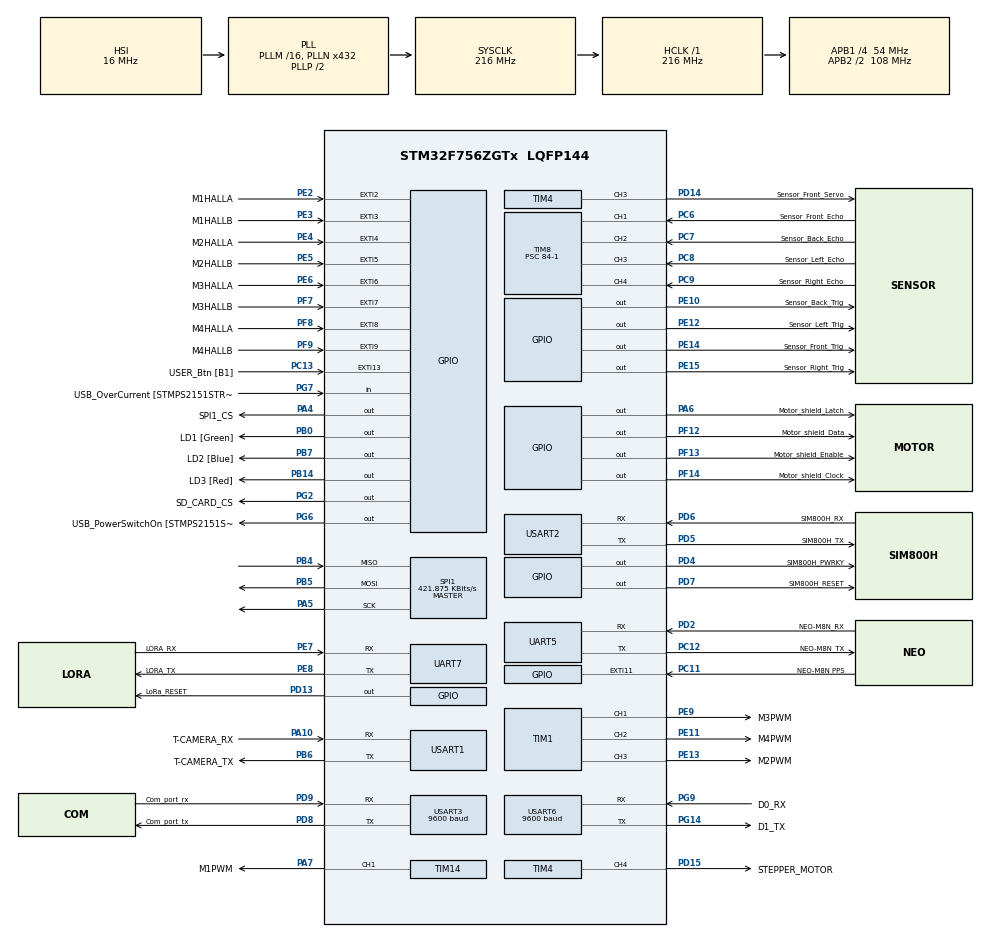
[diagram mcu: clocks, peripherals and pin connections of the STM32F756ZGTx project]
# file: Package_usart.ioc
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Mcu.Family=STM32F7
Mcu.Name=STM32F756ZGTx
Mcu.Package=LQFP144
NVIC.EXTI15_10_IRQn=true\:0\:0\:false\:false\:true\:true\:true\:true
NVIC.EXTI2_IRQn=true\:0\:0\:false\:false\:true\:true\:true\:true
NVIC.EXTI3_IRQn=true\:0\:0\:false\:false\:true\:true\:true\:true
NVIC.EXTI4_IRQn=true\:0\:0\:false\:false\:true\:true\:true\:true
NVIC.EXTI9_5_IRQn=true\:0\:0\:false\:false\:true\:true\:true\:true
NVIC.PriorityGroup=NVIC_PRIORITYGROUP_4
NVIC.RCC_IRQn=true\:0\:0\:false\:false\:true\:true\:false\:true
NVIC.SPI1_IRQn=true\:0\:0\:false\:false\:true\:true\:true\:true
NVIC.TIM2_IRQn=true\:0\:0\:false\:false\:true\:true\:true\:true
NVIC.TIM3_IRQn=true\:0\:0\:false\:false\:true\:true\:true\:true
NVIC.TIM4_IRQn=true\:0\:0\:false\:false\:true\:true\:true\:true
NVIC.TIM8_CC_IRQn=true\:0\:0\:false\:false\:true\:true\:true\:true
NVIC.UART5_IRQn=true\:0\:0\:false\:false\:true\:true\:true\:true
NVIC.UART7_IRQn=true\:0\:0\:false\:false\:true\:true\:true\:true
NVIC.USART1_IRQn=true\:0\:0\:false\:false\:true\:true\:true\:true
NVIC.USART2_IRQn=true\:0\:0\:false\:false\:true\:true\:true\:true
NVIC.USART3_IRQn=true\:0\:0\:false\:false\:true\:true\:true\:true
NVIC.USART6_IRQn=true\:0\:0\:false\:false\:true\:true\:true\:true
PA10.GPIO_Label=T-CAMERA_RX
PA10.Mode=Asynchronous
PA10.Signal=USART1_RX
PA11.GPIO_Label=USB_DM
PA11.Signal=USB_OTG_FS_DM
PA12.GPIO_Label=USB_DP
PA12.Signal=USB_OTG_FS_DP
PA13.GPIO_Label=TMS
PA13.Signal=SYS_JTMS-SWDIO
PA14.GPIO_Label=TCK
PA14.Signal=SYS_JTCK-SWCLK
PA4.GPIO_Label=SPI1_CS
PA4.GPIO_PuPd=GPIO_PULLUP
PA4.PinState=GPIO_PIN_SET
PA4.Signal=GPIO_Output
PA5.GPIO_PuPd=GPIO_PULLUP
PA5.Mode=Full_Duplex_Master
PA5.Signal=SPI1_SCK
PA6.GPIO_Label=Motor_shield_Latch
PA6.Signal=GPIO_Output
PA7.GPIO_Label=M1PWM
PA7.Signal=S_TIM14_CH1
PA8.GPIO_Label=USB_SOF [TP1]
PA8.Signal=USB_OTG_FS_SOF
PA9.GPIO_Label=USB_VBUS
PA9.Signal=USB_OTG_FS_VBUS
PB0.GPIO_Label=LD1 [Green]
PB0.Signal=GPIO_Output
PB13.GPIO_Label=RMII_TXD1 [LAN8742A-CZ-TR_TXD1]
PB13.Signal=ETH_TXD1
PB14.GPIO_Label=LD3 [Red]
PB14.Signal=GPIO_Output
PB3.Signal=SYS_JTDO-SWO
PB4.GPIO_PuPd=GPIO_PULLUP
PB4.Mode=Full_Duplex_Master
PB4.Signal=SPI1_MISO
PB5.GPIO_PuPd=GPIO_PULLUP
PB5.Mode=Full_Duplex_Master
PB5.Signal=SPI1_MOSI
PB6.GPIO_Label=T-CAMERA_TX
PB6.Mode=Asynchronous
PB6.Signal=USART1_TX
PB7.GPIO_Label=LD2 [Blue]
PB7.Signal=GPIO_Output
PB8.Signal=I2C1_SCL
PB9.Signal=I2C1_SDA
PC1.GPIO_Label=RMII_MDC [LAN8742A-CZ-TR_MDC]
PC1.Signal=ETH_MDC
PC11.GPIO_Label=NEO-M8N PPS
PC11.Signal=GPXTI11
PC12.GPIO_Label=NEO-M8N_TX
PC12.Mode=Asynchronous
PC12.Signal=UART5_TX
PC13.GPIO_Label=USER_Btn [B1]
PC13.Signal=GPXTI13
PC14/OSC32_IN.Signal=RCC_OSC32_IN
PC15/OSC32_OUT.Signal=RCC_OSC32_OUT
PC4.GPIO_Label=RMII_RXD0 [LAN8742A-CZ-TR_RXD0]
PC4.Signal=ETH_RXD0
PC5.GPIO_Label=RMII_RXD1 [LAN8742A-CZ-TR_RXD1]
PC5.Signal=ETH_RXD1
PC6.GPIO_Label=Sensor_Front_Echo
PC6.Signal=S_TIM8_CH1
PC7.GPIO_Label=Sensor_Back_Echo
PC7.Signal=S_TIM8_CH2
PC8.GPIO_Label=Sensor_Left_Echo
PC8.Signal=S_TIM8_CH3
PC9.GPIO_Label=Sensor_Right_Echo
PC9.Signal=S_TIM8_CH4
PD13.GPIO_Label=LoRa_RESET
PD13.Signal=GPIO_Output
PD14.GPIO_Label=Sensor_Front_Servo
PD14.GPIO_PuPd=GPIO_NOPULL
PD14.GPIO_Speed=GPIO_SPEED_FREQ_LOW
PD14.Signal=S_TIM4_CH3
PD15.GPIO_Label=STEPPER_MOTOR
PD15.GPIO_Speed=GPIO_SPEED_FREQ_LOW
PD15.Signal=S_TIM4_CH4
PD2.GPIO_Label=NEO-M8N_RX
PD2.Mode=Asynchronous
PD2.Signal=UART5_RX
PD4.GPIO_Label=SIM800H_PWRKY
PD4.Signal=GPIO_Output
PD5.GPIO_Label=SIM800H_TX
PD5.Mode=Asynchronous
PD5.Signal=USART2_TX
PD6.GPIO_Label=SIM800H_RX
PD6.Mode=Asynchronous
PD6.Signal=USART2_RX
PD7.GPIO_Label=SIM800H_RESET
PD7.Signal=GPIO_Output
PD8.GPIO_Label=Com_port_tx
PD8.Mode=Asynchronous
PD8.Signal=USART3_TX
PD9.GPIO_Label=Com_port_rx
PD9.Mode=Asynchronous
PD9.Signal=USART3_RX
PE10.GPIO_Label=Sensor_Back_Trig
PE10.PinState=GPIO_PIN_SET
PE10.Signal=GPIO_Output
PE11.GPIO_Label=M4PWM
PE11.Signal=S_TIM1_CH2
PE12.GPIO_Label=Sensor_Left_Trig
PE12.PinState=GPIO_PIN_SET
PE12.Signal=GPIO_Output
PE13.GPIO_Label=M2PWM
PE13.Signal=S_TIM1_CH3
PE14.GPIO_Label=Sensor_Front_Trig
PE14.PinState=GPIO_PIN_SET
PE14.Signal=GPIO_Output
PE15.GPIO_Label=Sensor_Right_Trig
PE15.PinState=GPIO_PIN_SET
PE15.Signal=GPIO_Output
PE2.GPIO_Label=M1HALLA
PE2.Signal=GPXTI2
PE3.GPIO_Label=M1HALLB
PE3.Signal=GPXTI3
PE4.GPIO_Label=M2HALLA
PE4.Signal=GPXTI4
PE5.GPIO_Label=M2HALLB
PE5.Signal=GPXTI5
PE6.GPIO_Label=M3HALLA
PE6.Signal=GPXTI6
PE7.GPIO_Label=LORA_RX
PE7.Mode=Asynchronous
PE7.Signal=UART7_RX
PE8.GPIO_Label=LORA_TX
PE8.Mode=Asynchronous
PE8.Signal=UART7_TX
PE9.GPIO_Label=M3PWM
PE9.Signal=S_TIM1_CH1
PF12.GPIO_Label=Motor_shield_Data
PF12.Signal=GPIO_Output
PF13.GPIO_Label=Motor_shield_Enable
PF13.Signal=GPIO_Output
PF14.GPIO_Label=Motor_shield_Clock
PF14.Signal=GPIO_Output
PF7.GPIO_Label=M3HALLB
PF7.Signal=GPXTI7
PF8.GPIO_Label=M4HALLA
PF8.Signal=GPXTI8
PF9.GPIO_Label=M4HALLB
PF9.Signal=GPXTI9
PG11.GPIO_Label=RMII_TX_EN [LAN8742A-CZ-TR_TXEN]
PG11.Signal=ETH_TX_EN
PG13.GPIO_Label=RMII_TXD0 [LAN8742A-CZ-TR_TXD0]
PG13.Signal=ETH_TXD0
PG14.GPIO_Label=D1_TX
PG14.Mode=Asynchronous
PG14.Signal=USART6_TX
PG2.GPIO_Label=SD_CARD_CS
PG2.Signal=GPIO_Output
PG6.GPIO_Label=USB_PowerSwitchOn [STMPS2151STR_EN]
PG6.Signal=GPIO_Output
PG7.GPIO_Label=USB_OverCurrent [STMPS2151STR_FAULT]
PG7.Signal=GPIO_Input
PG9.GPIO_Label=D0_RX
PG9.Mode=Asynchronous
PG9.Signal=USART6_RX
PH0/OSC_IN.GPIO_Label=MCO [STM32F103CBT6_PA8]
PH0/OSC_IN.Signal=RCC_OSC_IN
PH1/OSC_OUT.Signal=RCC_OSC_OUT
ProjectManager.HeapSize=0x200
ProjectManager.StackSize=0x400
ProjectManager.TargetToolchain=STM32CubeIDE
RCC.48MHZClocksFreq_Value=24000000
RCC.AHBFreq_Value=216000000
RCC.APB1CLKDivider=RCC_HCLK_DIV4
RCC.APB1Freq_Value=54000000
RCC.APB1TimFreq_Value=108000000
RCC.APB2CLKDivider=RCC_HCLK_DIV2
RCC.APB2Freq_Value=108000000
RCC.APB2TimFreq_Value=216000000
RCC.CortexFreq_Value=216000000
RCC.HCLKFreq_Value=216000000
RCC.HSE_VALUE=8000000
RCC.HSI_VALUE=16000000
RCC.LSE_VALUE=32768
RCC.PLLMUL=RCC_PLL_MUL9
RCC.PLLN=432
RCC.PLLQ=9
RCC.PRESCALERUSB=RCC_USBCLKSOURCE_PLL_DIV1_5
RCC.SYSCLKFreq_VALUE=216000000
RCC.SYSCLKSource=RCC_SYSCLKSOURCE_PLLCLK
RCC.SYSCLKSourceVirtual=RCC_SYSCLKSOURCE_PLLCLK
RCC.USBFreq_Value=48000000
RCC.VCOOutputFreq_Value=432000000
SH.S_TIM14_CH1.0=TIM14_CH1,PWM Generation1 CH1
SH.S_TIM1_CH1.0=TIM1_CH1,PWM Generation1 CH1
SH.S_TIM1_CH2.0=TIM1_CH2,PWM Generation2 CH2
SH.S_TIM1_CH3.0=TIM1_CH3,PWM Generation3 CH3
SH.S_TIM4_CH3.0=TIM4_CH3,PWM Generation3 CH3
SH.S_TIM4_CH4.0=TIM4_CH4,PWM Generation4 CH4
SH.S_TIM8_CH1.0=TIM8_CH1,Input_Capture1_from_TI1
SH.S_TIM8_CH2.0=TIM8_CH2,Input_Capture2_from_TI2
SH.S_TIM8_CH3.0=TIM8_CH3,Input_Capture3_from_TI3
SH.S_TIM8_CH4.0=TIM8_CH4,Input_Capture4_from_TI4
SPI1.BaudRatePrescaler=SPI_BAUDRATEPRESCALER_256
SPI1.CalculateBaudRate=421.875 KBits/s
SPI1.Direction=SPI_DIRECTION_2LINES
SPI1.Mode=SPI_MODE_MASTER
SPI1.VirtualType=VM_MASTER
TIM1.Channel-PWM\ Generation1\ CH1=TIM_CHANNEL_1
TIM1.Channel-PWM\ Generation2\ CH2=TIM_CHANNEL_2
TIM1.Channel-PWM\ Generation3\ CH3=TIM_CHANNEL_3
TIM14.Channel=TIM_CHANNEL_1
TIM2.Period=0xFFFF
TIM2.Prescaler=84
TIM3.ClockDivision=TIM_CLOCKDIVISION_DIV1
TIM3.Prescaler=83
TIM4.Channel-PWM\ Generation3\ CH3=TIM_CHANNEL_3
TIM4.Channel-PWM\ Generation4\ CH4=TIM_CHANNEL_4
TIM4.Period=20000-1
TIM4.Prescaler=100-1
TIM4.Pulse-PWM\ Generation3\ CH3=1500
TIM8.Channel-Input_Capture1_from_TI1=TIM_CHANNEL_1
TIM8.Channel-Input_Capture2_from_TI2=TIM_CHANNEL_2
TIM8.Channel-Input_Capture3_from_TI3=TIM_CHANNEL_3
TIM8.Channel-Input_Capture4_from_TI4=TIM_CHANNEL_4
TIM8.Prescaler=84-1
USART1.VirtualMode-Asynchronous=VM_ASYNC
USART2.VirtualMode-Asynchronous=VM_ASYNC
USART3.BaudRate=9600
USART3.VirtualMode-Asynchronous=VM_ASYNC
USART6.BaudRate=9600
USART6.VirtualMode-Asynchronous=VM_ASYNC
VP_FATFS_VS_Generic.Mode=User_defined
VP_RNG_VS_RNG.Mode=RNG_Activate
VP_TIM14_VS_ClockSourceINT.Mode=Enable_Timer
VP_TIM1_VS_ClockSourceITR.Mode=TriggerSource_ITR0
VP_TIM1_VS_ControllerModeClock.Mode=Clock Mode
VP_TIM2_VS_ClockSourceITR.Mode=TriggerSource_ITR0
VP_TIM2_VS_ControllerModeClock.Mode=Clock Mode
VP_TIM3_VS_ClockSourceITR.Mode=TriggerSource_ITR0
VP_TIM3_VS_ControllerModeClock.Mode=Clock Mode
VP_TIM4_VS_ClockSourceINT.Mode=Internal
board=NUCLEO-F756ZG

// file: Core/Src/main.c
/* USER CODE BEGIN Header */
/**
  ******************************************************************************
  * @file           : main.c
  * @brief          : Main program body
  ******************************************************************************
  * @attention
  *
  * Copyright (c) 2025 STMicroelectronics.
  * All rights reserved.
  *
  * This software is licensed under terms that can be found in the LICENSE file
  * in the root directory of this software component.
  * If no LICENSE file comes with this software, it is provided AS-IS.
  *
  ******************************************************************************
  */
/* USER CODE END Header */
#include "main.h"
#include "fatfs.h"
#include "rng.h"
#include "spi.h"
#include "tim.h"
#include "usart.h"
#include "gpio.h"

/* USER CODE BEGIN Includes */
#include "motor.h"
#include "hall.h"
#include "ultrasonic.h"
#include "servo.h"
#include "user_diskio_spi.h"
#include "sd_card.h"
#include "obstacle.h"
#include "uart_handler.h"
#include <string.h>
#include <stdio.h>
#include <stdarg.h> //for va_list var arg functions
/* USER CODE END Includes */

void SystemClock_Config(void);
/* USER CODE BEGIN PFP */
void Green_led_blink(void);
void Hall_GPIO_Init(void);
void LoRa_Reset(void);
void myprintf(const char *fmt, ...);

/* USER CODE END PFP */

/* USER CODE BEGIN 0 */
extern void myprintf(const char *fmt, ...) {
  static char buffer[256];
  va_list args;
  va_start(args, fmt);
  vsnprintf(buffer, sizeof(buffer), fmt, args);
  va_end(args);

  int len = strlen(buffer);
  HAL_UART_Transmit(&huart3, (uint8_t*)buffer, len, -1);

}

/* USER CODE END 0 */

int main(void)
{

  /* MCU Configuration--------------------------------------------------------*/

  /* Reset of all peripherals, Initializes the Flash interface and the Systick. */
  HAL_Init();

  /* Configure the system clock */
  SystemClock_Config();

  /* Initialize all configured peripherals */
  MX_GPIO_Init();
  MX_TIM1_Init();
  MX_TIM2_Init();
  MX_USART3_UART_Init();
  MX_USART1_UART_Init();
  MX_USART2_UART_Init();
  MX_TIM3_Init();
  MX_TIM14_Init();
  MX_TIM4_Init();
  MX_FATFS_Init();
  MX_USART6_UART_Init();
  MX_UART7_Init();
  MX_UART5_Init();
  MX_TIM8_Init();
  MX_SPI1_Init();
  MX_RNG_Init();
  /* USER CODE BEGIN 2 */
  //Uart start
    HAL_UART_Receive_IT(&huart1, &uart1_rx_char, 1);
    HAL_UART_Receive_IT(&huart2, &uart2_rx_char, 1);
    HAL_UART_Receive_IT(&huart3, &uart3_rx_char, 1);// UART3 fogadás (PC/parancs)
    HAL_UART_Receive_IT(&huart6, &uart6_rx_char, 1);
    HAL_UART_Receive_IT(&huart5, &uart5_rx_char, 1);
    HAL_UART_Receive_IT(&huart7, &uart7_rx_char, 1);// UART7 fogadás (Bluetooth)

        char welcome[] = "USART3 ready. Type a command:\r\n";
        HAL_UART_Transmit(&huart3, (uint8_t*)welcome, strlen(welcome), HAL_MAX_DELAY);
  /* SD CARD USED BEGIN ---------------------------------------------------------------------------------------------------------------*/
  SD_Card_Init();
  SD_Card_ReadTestFile();
  SD_Card_WriteTestFile();

  /* SD CARD USED END -----------------------------------------------------------------------------------------------------------------*/
  LoRa_Reset();
  Servo_Init(); // A PWM indítása
  Ultrasonic_Init(); // Az IC bemenetek indítása

  Motor_Init();

  /* USER CODE END 2 */

  /* Infinite loop */
  /* USER CODE BEGIN WHILE */
  while (1)
  {
	  UartDispatcher_Process();
	  //HAL_UART_Receive_IT(&huart7, &uart7_rx_char, 1);// UART7 fogadás (Bluetooth)
	  Green_led_blink();

	  Hall_DebugPrint(); //hall szenzorok

	  Ultrasonic_SendDistanceUART(0); // Front szenzor
	  Ultrasonic_SendDistanceUART(1); // Hátsó
	  Ultrasonic_SendDistanceUART(2); // Bal
	  Ultrasonic_SendDistanceUART(3); // Jobb
	  Obstacle_Update();
	  Obstacle_Check();
	  if (!Obstacle_IsBlocked()) {
	          Control_Update();  // csak akkor frissít, ha nincs akadály
	      } else {
	          Obstacle_Handle(); // vagy közvetlen leállítás
	      }

	  HAL_Delay(100);  // vagy a kívánt ciklusidő

    /* USER CODE END WHILE */

  }
}

void SystemClock_Config(void)
{
  RCC_OscInitTypeDef RCC_OscInitStruct = {0};
  RCC_ClkInitTypeDef RCC_ClkInitStruct = {0};

  /** Configure the main internal regulator output voltage
  */
  __HAL_RCC_PWR_CLK_ENABLE();
  __HAL_PWR_VOLTAGESCALING_CONFIG(PWR_REGULATOR_VOLTAGE_SCALE1);

  /** Initializes the RCC Oscillators according to the specified parameters
  * in the RCC_OscInitTypeDef structure.
  */
  RCC_OscInitStruct.OscillatorType = RCC_OSCILLATORTYPE_HSI;
  RCC_OscInitStruct.HSIState = RCC_HSI_ON;
  RCC_OscInitStruct.HSICalibrationValue = RCC_HSICALIBRATION_DEFAULT;
  RCC_OscInitStruct.PLL.PLLState = RCC_PLL_ON;
  RCC_OscInitStruct.PLL.PLLSource = RCC_PLLSOURCE_HSI;
  RCC_OscInitStruct.PLL.PLLM = 16;
  RCC_OscInitStruct.PLL.PLLN = 432;
  RCC_OscInitStruct.PLL.PLLP = RCC_PLLP_DIV2;
  RCC_OscInitStruct.PLL.PLLQ = 9;
  if (HAL_RCC_OscConfig(&RCC_OscInitStruct) != HAL_OK)
  {
    Error_Handler();
  }

  /** Activate the Over-Drive mode
  */
  if (HAL_PWREx_EnableOverDrive() != HAL_OK)
  {
    Error_Handler();
  }

  /** Initializes the CPU, AHB and APB buses clocks
  */
  RCC_ClkInitStruct.ClockType = RCC_CLOCKTYPE_HCLK|RCC_CLOCKTYPE_SYSCLK
                              |RCC_CLOCKTYPE_PCLK1|RCC_CLOCKTYPE_PCLK2;
  RCC_ClkInitStruct.SYSCLKSource = RCC_SYSCLKSOURCE_PLLCLK;
  RCC_ClkInitStruct.AHBCLKDivider = RCC_SYSCLK_DIV1;
  RCC_ClkInitStruct.APB1CLKDivider = RCC_HCLK_DIV4;
  RCC_ClkInitStruct.APB2CLKDivider = RCC_HCLK_DIV2;

  if (HAL_RCC_ClockConfig(&RCC_ClkInitStruct, FLASH_LATENCY_7) != HAL_OK)
  {
    Error_Handler();
  }
}

/* USER CODE BEGIN 4 */
void Green_led_blink(void)
{
	// PB0 villog
	HAL_GPIO_WritePin(GPIOB, GPIO_PIN_0, GPIO_PIN_SET);
	HAL_Delay(500);
	HAL_GPIO_WritePin(GPIOB, GPIO_PIN_0, GPIO_PIN_RESET);
	HAL_Delay(500);

}

void HAL_GPIO_EXTI_Callback(uint16_t GPIO_Pin)
{
    switch (GPIO_Pin)
    {
        case GPIO_PIN_2: Hall_UpdateCounter(0); break;
        case GPIO_PIN_3: Hall_UpdateCounter(1); break;
        case GPIO_PIN_4: Hall_UpdateCounter(2); break;
        case GPIO_PIN_5: Hall_UpdateCounter(3); break;
        case GPIO_PIN_6: Hall_UpdateCounter(4); break;
        case GPIO_PIN_7: Hall_UpdateCounter(5); break;
        case GPIO_PIN_8: Hall_UpdateCounter(6); break;
        case GPIO_PIN_9: Hall_UpdateCounter(7); break;
    }
}
void LoRa_Reset(void)
{
    HAL_GPIO_WritePin(LoRa_RESET_GPIO_Port, LoRa_RESET_Pin, GPIO_PIN_RESET);
    HAL_Delay(10);  // Legalább 5 ms
    HAL_GPIO_WritePin(LoRa_RESET_GPIO_Port, LoRa_RESET_Pin, GPIO_PIN_SET);
    HAL_Delay(10);
}
/* USER CODE END 4 */

void Error_Handler(void)
{
  /* USER CODE BEGIN Error_Handler_Debug */
  /* User can add his own implementation to report the HAL error return state */
  __disable_irq();
  printf(">> ERROR HANDLER <<\r\n");
  while (1)
  {
  }
  /* USER CODE END Error_Handler_Debug */
}

#ifdef  USE_FULL_ASSERT
/**
  * @brief  Reports the name of the source file and the source line number
  *         where the assert_param error has occurred.
  * @param  file: pointer to the source file name
  * @param  line: assert_param error line source number
  * @retval None
  */
void assert_failed(uint8_t *file, uint32_t line)
{
  /* USER CODE BEGIN 6 */
  /* User can add his own implementation to report the file name and line number,
     ex: printf("Wrong parameters value: file %s on line %d\r\n", file, line) */
	printf("Wrong parameters value: file %s on line %d\r\n", file, line);
		 while (1)
		   {
			 printf(">> ERROR ASSERT <<\r\n");
		     // Hiba esetén itt megáll a program
		   }
  /* USER CODE END 6 */
}
#endif /* USE_FULL_ASSERT */
